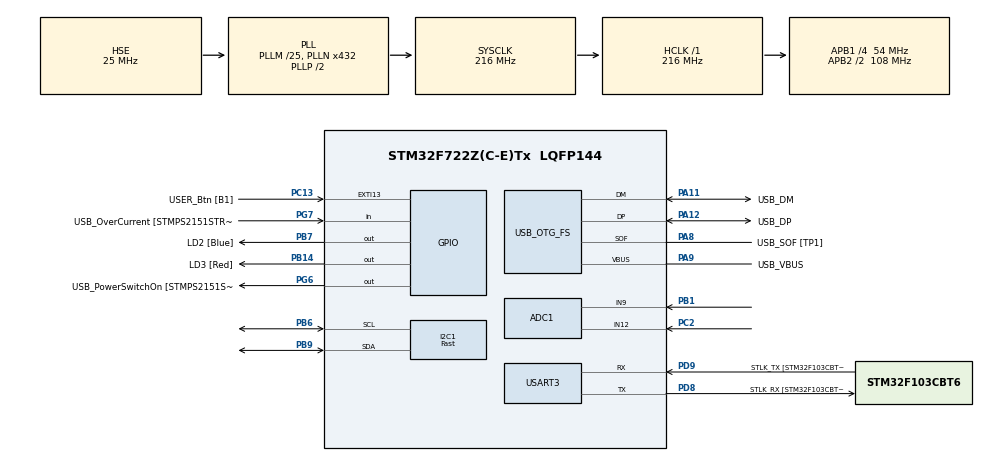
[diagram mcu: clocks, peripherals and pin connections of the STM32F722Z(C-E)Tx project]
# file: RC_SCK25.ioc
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ADC1.Channel-0\#ChannelRegularConversion=ADC_CHANNEL_9
ADC1.EOCSelection=ADC_EOC_SEQ_CONV
ADC1.NbrOfConversionFlag=1
ADC1.Rank-0\#ChannelRegularConversion=1
ADC1.SamplingTime-0\#ChannelRegularConversion=ADC_SAMPLETIME_3CYCLES
ADC1.ScanConvMode=ENABLE
ADC1.master=1
I2C1.I2C_Speed_Mode=I2C_Fast
I2C1.Timing=0x6000030D
Mcu.Family=STM32F7
Mcu.Name=STM32F722Z(C-E)Tx
Mcu.Package=LQFP144
NVIC.PriorityGroup=NVIC_PRIORITYGROUP_4
PA10.GPIO_Label=USB_ID
PA10.Signal=USB_OTG_FS_ID
PA11.GPIO_Label=USB_DM
PA11.Mode=Device_Only
PA11.Signal=USB_OTG_FS_DM
PA12.GPIO_Label=USB_DP
PA12.Mode=Device_Only
PA12.Signal=USB_OTG_FS_DP
PA13.GPIO_Label=TMS
PA13.Mode=Serial_Wire
PA13.Signal=SYS_JTMS-SWDIO
PA14.GPIO_Label=TCK
PA14.Mode=Serial_Wire
PA14.Signal=SYS_JTCK-SWCLK
PA8.GPIO_Label=USB_SOF [TP1]
PA8.Mode=Activate_SOF_FS
PA8.Signal=USB_OTG_FS_SOF
PA9.GPIO_Label=USB_VBUS
PA9.Mode=Activate_VBUS
PA9.Signal=USB_OTG_FS_VBUS
PB1.Signal=ADCx_IN9
PB14.GPIO_Label=LD3 [Red]
PB14.Signal=GPIO_Output
PB3.GPIO_Label=SWO
PB3.Signal=SYS_JTDO-SWO
PB6.Mode=I2C
PB6.Signal=I2C1_SCL
PB7.GPIO_Label=LD2 [Blue]
PB7.Signal=GPIO_Output
PB9.Mode=I2C
PB9.Signal=I2C1_SDA
PC13.GPIO_Label=USER_Btn [B1]
PC13.Signal=GPXTI13
PC14-OSC32_IN.Mode=LSE-External-Oscillator
PC14-OSC32_IN.Signal=RCC_OSC32_IN
PC15-OSC32_OUT.Mode=LSE-External-Oscillator
PC15-OSC32_OUT.Signal=RCC_OSC32_OUT
PC2.Signal=ADCx_IN12
PD8.GPIO_Label=STLK_RX [STM32F103CBT6_PA3]
PD8.Mode=Asynchronous
PD8.Signal=USART3_TX
PD9.GPIO_Label=STLK_TX [STM32F103CBT6_PA2]
PD9.Mode=Asynchronous
PD9.Signal=USART3_RX
PG6.GPIO_Label=USB_PowerSwitchOn [STMPS2151STR_EN]
PG6.Signal=GPIO_Output
PG7.GPIO_Label=USB_OverCurrent [STMPS2151STR_FAULT]
PG7.Signal=GPIO_Input
PH0-OSC_IN.GPIO_Label=MCO
PH0-OSC_IN.Mode=HSE-External-Clock-Source
PH0-OSC_IN.Signal=RCC_OSC_IN
PH1-OSC_OUT.Mode=HSE-External-Clock-Source
PH1-OSC_OUT.Signal=RCC_OSC_OUT
ProjectManager.HeapSize=0x200
ProjectManager.StackSize=0x400
ProjectManager.TargetToolchain=TrueSTUDIO
RCC.48MHZClocksFreq_Value=24000000
RCC.AHBFreq_Value=216000000
RCC.APB1CLKDivider=RCC_HCLK_DIV4
RCC.APB1Freq_Value=54000000
RCC.APB1TimFreq_Value=108000000
RCC.APB2CLKDivider=RCC_HCLK_DIV2
RCC.APB2Freq_Value=108000000
RCC.APB2TimFreq_Value=216000000
RCC.CortexFreq_Value=216000000
RCC.HCLKFreq_Value=216000000
RCC.HSE_VALUE=25000000
RCC.HSI_VALUE=16000000
RCC.PLLM=25
RCC.PLLMUL=RCC_PLL_MUL9
RCC.PLLN=432
RCC.PLLQ=9
RCC.PRESCALERUSB=RCC_USBCLKSOURCE_PLL_DIV1_5
RCC.SYSCLKFreq_VALUE=216000000
RCC.SYSCLKSource=RCC_SYSCLKSOURCE_PLLCLK
RCC.SYSCLKSourceVirtual=RCC_SYSCLKSOURCE_PLLCLK
RCC.USBFreq_Value=48000000
RCC.VCOOutputFreq_Value=432000000
SH.ADCx_IN12.0=ADC1_IN12,IN12
SH.ADCx_IN9.0=ADC1_IN9,IN9
USART3.VirtualMode-Asynchronous=VM_ASYNC
USB_OTG_FS.VirtualMode=Device_Only
board=NUCLEO-F722ZE

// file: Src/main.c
/* USER CODE BEGIN Header */
/**
  ******************************************************************************
  * @file           : main.c
  * @brief          : Main program body
  ******************************************************************************
  * @attention
  *
  * <h2><center>&copy; Copyright (c) 2019 STMicroelectronics.
  * All rights reserved.</center></h2>
  *
  * This software component is licensed by ST under BSD 3-Clause license,
  * the "License"; You may not use this file except in compliance with the
  * License. You may obtain a copy of the License at:
  *                        opensource.org/licenses/BSD-3-Clause
  *
  ******************************************************************************
  */
/* USER CODE END Header */

#include <string.h>
#include <stdio.h>
#include "main.h"
#include "Adafruit_ADS1015.h"

/* USER CODE BEGIN PD */
#define PRINT_BUFFER_LENGTH		254
/* USER CODE END PD */

ADC_HandleTypeDef hadc1;
ADC_ChannelConfTypeDef sConfig = {0};
I2C_HandleTypeDef hi2c1;
char	pPrintStr[PRINT_BUFFER_LENGTH] = "Test\n";
UART_HandleTypeDef huart3;

PCD_HandleTypeDef hpcd_USB_OTG_FS;

void SystemClock_Config(void);
static void MX_GPIO_Init(void);
static void MX_USART3_UART_Init(void);
static void MX_USB_OTG_FS_PCD_Init(void);
static void MX_ADC1_Init(void);
static void MX_I2C1_Init(void);

/* USER CODE BEGIN 0 */
#define SIZE_OF_I2C_TX_BUFFER		4
#define I2C_TX_TIMEOUT				1000
//uint16_t ADS1015_readADC_SingleEnded(int fd, uint8_t channel)
HAL_StatusTypeDef		I2C_TransmissionResult;
uint16_t ADS1015_readADC_SingleEnded(uint8_t channel)
{
uint32_t Tickstart;
uint8_t I2C_Buffer[SIZE_OF_I2C_TX_BUFFER];
uint16_t config = ADS1015_REG_CONFIG_CQUE_NONE    | // Disable the comparator (default val)
				  ADS1015_REG_CONFIG_CLAT_NONLAT  | // Non-latching (default val)
				  ADS1015_REG_CONFIG_CPOL_ACTVLOW | // Alert/Rdy active low   (default val)
				  ADS1015_REG_CONFIG_CMODE_TRAD   | // Traditional comparator (default val)
				  ADS1015_REG_CONFIG_DR_1600SPS   | // 1600 samples per second (default)
				  ADS1015_REG_CONFIG_MODE_SINGLE;   // Single-shot mode (default)

	config |= ADS1015_REG_CONFIG_PGA_6_144V;
// Set single-ended input channel
	switch (channel)
	{
		case (0):
		{
			config |= ADS1015_REG_CONFIG_MUX_SINGLE_0;
		} break;
		case (1):
		{
			config |= ADS1015_REG_CONFIG_MUX_SINGLE_1;
		} break;
		case (2):
		{
			config |= ADS1015_REG_CONFIG_MUX_SINGLE_2;
		} break;
		case (3):
		{
			config |= ADS1015_REG_CONFIG_MUX_SINGLE_3;
		} break;
		default:
		{
		} break;
	}
        // Set 'start single-conversion' bit
	config |= ADS1015_REG_CONFIG_OS_SINGLE;
	I2C_Buffer[0] = ADS1015_REG_POINTER_CONFIG;
	I2C_Buffer[1] = ((config >> 8) & 0xff);
	I2C_Buffer[2] = ((config >> 0) & 0xff);
	Tickstart = HAL_GetTick();
	I2C_TransmissionResult = HAL_I2C_Master_Transmit(&hi2c1, ADS1015_ADDRESS, &I2C_Buffer[0], 3, I2C_TX_TIMEOUT);
	if (HAL_OK == I2C_TransmissionResult)
	{
		while ((HAL_GetTick() - Tickstart) < 10);
		memset(&I2C_Buffer[0], 0, SIZE_OF_I2C_TX_BUFFER);
		I2C_TransmissionResult = HAL_I2C_Master_Receive(&hi2c1, ADS1015_ADDRESS, &I2C_Buffer[0], 2, 1000);
		if (HAL_OK == I2C_TransmissionResult)
		{
			config = ((I2C_Buffer[0] >> 8) | (I2C_Buffer[1] >> 0));
		}
		else
		{
			sprintf(pPrintStr, "HAL_I2C_Master_Receive failed %d\n", (int) I2C_TransmissionResult);
			HAL_UART_Transmit(&huart3, (uint8_t *)pPrintStr, strlen(pPrintStr), 10);
		}
	}
	else
	{
		sprintf(pPrintStr, "HAL_I2C_Master_Transmit failed %d\n", (int) I2C_TransmissionResult);
		HAL_UART_Transmit(&huart3, (uint8_t *)pPrintStr, strlen(pPrintStr), 10);
	}
	return (config);
}

void TestUART(void)
{

static int Co = 0;
static int RxCo = 0;

	sprintf(pPrintStr, "Test number %d\n", Co++);
	HAL_UART_Transmit(&huart3, (uint8_t *)pPrintStr, strlen(pPrintStr), 10);
	memset(pPrintStr, 0, PRINT_BUFFER_LENGTH);
	HAL_UART_Receive(&huart3, (uint8_t *)pPrintStr, PRINT_BUFFER_LENGTH, 10);
	if (strlen(pPrintStr))
	{
		RxCo++;
	}
}

void TestI2C_A2D(unsigned char A2D_Channel)
{
uint16_t A2D_Data;
	//HAL_I2C_Master_Transmit(&hi2c1, ADS1015_ADDRESS,
//	ADS1015_readADC_SingleEnded(
	A2D_Data = ADS1015_readADC_SingleEnded(A2D_Channel);
	sprintf(pPrintStr, "A2D %d\n\r", A2D_Data);
	HAL_UART_Transmit(&huart3, (uint8_t *)pPrintStr, strlen(pPrintStr), 10);
}

void TestA2D(unsigned char A2D_Channel)
{
//char		pPrintStr[PRINT_BUFFER_LENGTH] = "";
uint32_t 	ADCValue;
static int 	MeasurementNumber = 0;

	switch(A2D_Channel)
	{
		case 0:
		{
			sConfig.Channel = ADC_CHANNEL_9;
		} break;
		case 1:
		{
			sConfig.Channel = ADC_CHANNEL_12;
		} break;
		default:
		{
			sprintf(pPrintStr, "A2D channel number error: %d\n", A2D_Channel);
			HAL_UART_Transmit(&huart3, (uint8_t *)pPrintStr, strlen(pPrintStr), 10);
		} break;
	}
	if (HAL_ADC_ConfigChannel(&hadc1, &sConfig) != HAL_OK)
	{
	  Error_Handler();
	}
	HAL_ADC_Start(&hadc1);
	if (HAL_ADC_PollForConversion(&hadc1, 1000) == HAL_OK)
	 {
		ADCValue = HAL_ADC_GetValue(&hadc1);
		sprintf(pPrintStr, "A2D test number %6d\tChannel %d\t%d\n", MeasurementNumber, A2D_Channel, ADCValue);
	 }
	else
	{
		sprintf(pPrintStr, "A2D test number %6d\tFaild\n", MeasurementNumber);
	}
	MeasurementNumber++;
	HAL_UART_Transmit(&huart3, (uint8_t *)pPrintStr, strlen(pPrintStr), 10);
	HAL_ADC_Stop(&hadc1);
}

/* USER CODE END 0 */

int main(void)
{
  /* USER CODE BEGIN 1 */
unsigned char A2D_Channel = 0;
  /* USER CODE END 1 */

  /* MCU Configuration--------------------------------------------------------*/

  /* Reset of all peripherals, Initializes the Flash interface and the Systick. */
  HAL_Init();

  /* Configure the system clock */
  SystemClock_Config();

  /* Initialize all configured peripherals */
  MX_GPIO_Init();
  MX_USART3_UART_Init();
  MX_USB_OTG_FS_PCD_Init();
  MX_ADC1_Init();
  MX_I2C1_Init();

  /* Infinite loop */
  while (1)
  {
	  //TestA2D((A2D_Channel++ & 0x01));
	  TestI2C_A2D((A2D_Channel++ & 0x03));
  }
}

void SystemClock_Config(void)
{
  RCC_OscInitTypeDef RCC_OscInitStruct = {0};
  RCC_ClkInitTypeDef RCC_ClkInitStruct = {0};
  RCC_PeriphCLKInitTypeDef PeriphClkInitStruct = {0};

  /** Configure LSE Drive Capability
  */
  HAL_PWR_EnableBkUpAccess();
  /** Configure the main internal regulator output voltage
  */
  __HAL_RCC_PWR_CLK_ENABLE();
  __HAL_PWR_VOLTAGESCALING_CONFIG(PWR_REGULATOR_VOLTAGE_SCALE1);
  /** Initializes the CPU, AHB and APB busses clocks
  */
  RCC_OscInitStruct.OscillatorType = RCC_OSCILLATORTYPE_HSE;
  RCC_OscInitStruct.HSEState = RCC_HSE_BYPASS;
  RCC_OscInitStruct.PLL.PLLState = RCC_PLL_ON;
  RCC_OscInitStruct.PLL.PLLSource = RCC_PLLSOURCE_HSE;
  RCC_OscInitStruct.PLL.PLLM = 25;
  RCC_OscInitStruct.PLL.PLLN = 432;
  RCC_OscInitStruct.PLL.PLLP = RCC_PLLP_DIV2;
  RCC_OscInitStruct.PLL.PLLQ = 9;
  if (HAL_RCC_OscConfig(&RCC_OscInitStruct) != HAL_OK)
  {
    Error_Handler();
  }
  /** Activate the Over-Drive mode
  */
  if (HAL_PWREx_EnableOverDrive() != HAL_OK)
  {
    Error_Handler();
  }
  /** Initializes the CPU, AHB and APB busses clocks
  */
  RCC_ClkInitStruct.ClockType = RCC_CLOCKTYPE_HCLK|RCC_CLOCKTYPE_SYSCLK
                              |RCC_CLOCKTYPE_PCLK1|RCC_CLOCKTYPE_PCLK2;
  RCC_ClkInitStruct.SYSCLKSource = RCC_SYSCLKSOURCE_PLLCLK;
  RCC_ClkInitStruct.AHBCLKDivider = RCC_SYSCLK_DIV1;
  RCC_ClkInitStruct.APB1CLKDivider = RCC_HCLK_DIV4;
  RCC_ClkInitStruct.APB2CLKDivider = RCC_HCLK_DIV2;

  if (HAL_RCC_ClockConfig(&RCC_ClkInitStruct, FLASH_LATENCY_7) != HAL_OK)
  {
    Error_Handler();
  }
  PeriphClkInitStruct.PeriphClockSelection = RCC_PERIPHCLK_USART3|RCC_PERIPHCLK_I2C1
                              |RCC_PERIPHCLK_CLK48;
  PeriphClkInitStruct.Usart3ClockSelection = RCC_USART3CLKSOURCE_PCLK1;
  PeriphClkInitStruct.I2c1ClockSelection = RCC_I2C1CLKSOURCE_PCLK1;
  PeriphClkInitStruct.Clk48ClockSelection = RCC_CLK48SOURCE_PLL;
  if (HAL_RCCEx_PeriphCLKConfig(&PeriphClkInitStruct) != HAL_OK)
  {
    Error_Handler();
  }
}

static void MX_ADC1_Init(void)
{

//  ADC_ChannelConfTypeDef sConfig = {0};

  /** Configure the global features of the ADC (Clock, Resolution, Data Alignment and number of conversion)
  */
  hadc1.Instance = ADC1;
  hadc1.Init.ClockPrescaler = ADC_CLOCK_SYNC_PCLK_DIV4;
  hadc1.Init.Resolution = ADC_RESOLUTION_12B;
  hadc1.Init.ScanConvMode = ENABLE;
  hadc1.Init.ContinuousConvMode = DISABLE;
  hadc1.Init.DiscontinuousConvMode = DISABLE;
  hadc1.Init.ExternalTrigConvEdge = ADC_EXTERNALTRIGCONVEDGE_NONE;
  hadc1.Init.ExternalTrigConv = ADC_SOFTWARE_START;
  hadc1.Init.DataAlign = ADC_DATAALIGN_RIGHT;
  hadc1.Init.NbrOfConversion = 1;
  hadc1.Init.DMAContinuousRequests = DISABLE;
  hadc1.Init.EOCSelection = ADC_EOC_SEQ_CONV;
  if (HAL_ADC_Init(&hadc1) != HAL_OK)
  {
    Error_Handler();
  }
  /** Configure for the selected ADC regular channel its corresponding rank in the sequencer and its sample time.
  */
  sConfig.Channel = ADC_CHANNEL_9;
  sConfig.Rank = ADC_REGULAR_RANK_1;
  sConfig.SamplingTime = ADC_SAMPLETIME_3CYCLES;
  if (HAL_ADC_ConfigChannel(&hadc1, &sConfig) != HAL_OK)
  {
    Error_Handler();
  }

  sConfig.Channel = ADC_CHANNEL_12;
  if (HAL_ADC_ConfigChannel(&hadc1, &sConfig) != HAL_OK)
  {
    Error_Handler();
  }

}

static void MX_I2C1_Init(void)
{

  hi2c1.Instance = I2C1;
  hi2c1.Init.Timing = 0x6000030D;
  hi2c1.Init.OwnAddress1 = 0;
  hi2c1.Init.AddressingMode = I2C_ADDRESSINGMODE_7BIT;
  hi2c1.Init.DualAddressMode = I2C_DUALADDRESS_DISABLE;
  hi2c1.Init.OwnAddress2 = 0;
  hi2c1.Init.OwnAddress2Masks = I2C_OA2_NOMASK;
  hi2c1.Init.GeneralCallMode = I2C_GENERALCALL_DISABLE;
  hi2c1.Init.NoStretchMode = I2C_NOSTRETCH_DISABLE;
  if (HAL_I2C_Init(&hi2c1) != HAL_OK)
  {
    Error_Handler();
  }
  /** Configure Analogue filter
  */
  if (HAL_I2CEx_ConfigAnalogFilter(&hi2c1, I2C_ANALOGFILTER_ENABLE) != HAL_OK)
  {
    Error_Handler();
  }
  /** Configure Digital filter
  */
  if (HAL_I2CEx_ConfigDigitalFilter(&hi2c1, 0) != HAL_OK)
  {
    Error_Handler();
  }

}

static void MX_USART3_UART_Init(void)
{

  huart3.Instance = USART3;
  huart3.Init.BaudRate = 115200;
  huart3.Init.WordLength = UART_WORDLENGTH_8B;
  huart3.Init.StopBits = UART_STOPBITS_1;
  huart3.Init.Parity = UART_PARITY_NONE;
  huart3.Init.Mode = UART_MODE_TX_RX;
  huart3.Init.HwFlowCtl = UART_HWCONTROL_NONE;
  huart3.Init.OverSampling = UART_OVERSAMPLING_16;
  huart3.Init.OneBitSampling = UART_ONE_BIT_SAMPLE_DISABLE;
  huart3.AdvancedInit.AdvFeatureInit = UART_ADVFEATURE_NO_INIT;
  if (HAL_UART_Init(&huart3) != HAL_OK)
  {
    Error_Handler();
  }

}

static void MX_USB_OTG_FS_PCD_Init(void)
{

  hpcd_USB_OTG_FS.Instance = USB_OTG_FS;
  hpcd_USB_OTG_FS.Init.dev_endpoints = 6;
  hpcd_USB_OTG_FS.Init.dma_enable = DISABLE;
  hpcd_USB_OTG_FS.Init.phy_itface = PCD_PHY_EMBEDDED;
  hpcd_USB_OTG_FS.Init.Sof_enable = ENABLE;
  hpcd_USB_OTG_FS.Init.low_power_enable = DISABLE;
  hpcd_USB_OTG_FS.Init.lpm_enable = DISABLE;
  hpcd_USB_OTG_FS.Init.battery_charging_enable = ENABLE;
  hpcd_USB_OTG_FS.Init.vbus_sensing_enable = ENABLE;
  hpcd_USB_OTG_FS.Init.use_dedicated_ep1 = DISABLE;
  if (HAL_PCD_Init(&hpcd_USB_OTG_FS) != HAL_OK)
  {
    Error_Handler();
  }

}

static void MX_GPIO_Init(void)
{
  GPIO_InitTypeDef GPIO_InitStruct = {0};

  /* GPIO Ports Clock Enable */
  __HAL_RCC_GPIOC_CLK_ENABLE();
  __HAL_RCC_GPIOH_CLK_ENABLE();
  __HAL_RCC_GPIOB_CLK_ENABLE();
  __HAL_RCC_GPIOD_CLK_ENABLE();
  __HAL_RCC_GPIOG_CLK_ENABLE();
  __HAL_RCC_GPIOA_CLK_ENABLE();

  /*Configure GPIO pin Output Level */
  HAL_GPIO_WritePin(GPIOB, LD3_Pin|LD2_Pin, GPIO_PIN_RESET);

  /*Configure GPIO pin Output Level */
  HAL_GPIO_WritePin(USB_PowerSwitchOn_GPIO_Port, USB_PowerSwitchOn_Pin, GPIO_PIN_RESET);

  /*Configure GPIO pin : USER_Btn_Pin */
  GPIO_InitStruct.Pin = USER_Btn_Pin;
  GPIO_InitStruct.Mode = GPIO_MODE_IT_RISING;
  GPIO_InitStruct.Pull = GPIO_NOPULL;
  HAL_GPIO_Init(USER_Btn_GPIO_Port, &GPIO_InitStruct);

  /*Configure GPIO pins : LD3_Pin LD2_Pin */
  GPIO_InitStruct.Pin = LD3_Pin|LD2_Pin;
  GPIO_InitStruct.Mode = GPIO_MODE_OUTPUT_PP;
  GPIO_InitStruct.Pull = GPIO_NOPULL;
  GPIO_InitStruct.Speed = GPIO_SPEED_FREQ_LOW;
  HAL_GPIO_Init(GPIOB, &GPIO_InitStruct);

  /*Configure GPIO pin : USB_PowerSwitchOn_Pin */
  GPIO_InitStruct.Pin = USB_PowerSwitchOn_Pin;
  GPIO_InitStruct.Mode = GPIO_MODE_OUTPUT_PP;
  GPIO_InitStruct.Pull = GPIO_NOPULL;
  GPIO_InitStruct.Speed = GPIO_SPEED_FREQ_LOW;
  HAL_GPIO_Init(USB_PowerSwitchOn_GPIO_Port, &GPIO_InitStruct);

  /*Configure GPIO pin : USB_OverCurrent_Pin */
  GPIO_InitStruct.Pin = USB_OverCurrent_Pin;
  GPIO_InitStruct.Mode = GPIO_MODE_INPUT;
  GPIO_InitStruct.Pull = GPIO_NOPULL;
  HAL_GPIO_Init(USB_OverCurrent_GPIO_Port, &GPIO_InitStruct);

}

void Error_Handler(void)
{
static uint32_t	Error_HandlerCo = 0;
  /* USER CODE BEGIN Error_Handler_Debug */
  /* User can add his own implementation to report the HAL error return state */
	sprintf(pPrintStr, "[%6d]Error_Handler\n\r", Error_HandlerCo++);
	HAL_UART_Transmit(&huart3, (uint8_t *)pPrintStr, strlen(pPrintStr), 10);
	while (1);
  /* USER CODE END Error_Handler_Debug */
}

/************************ (C) COPYRIGHT STMicroelectronics *****END OF FILE****/
